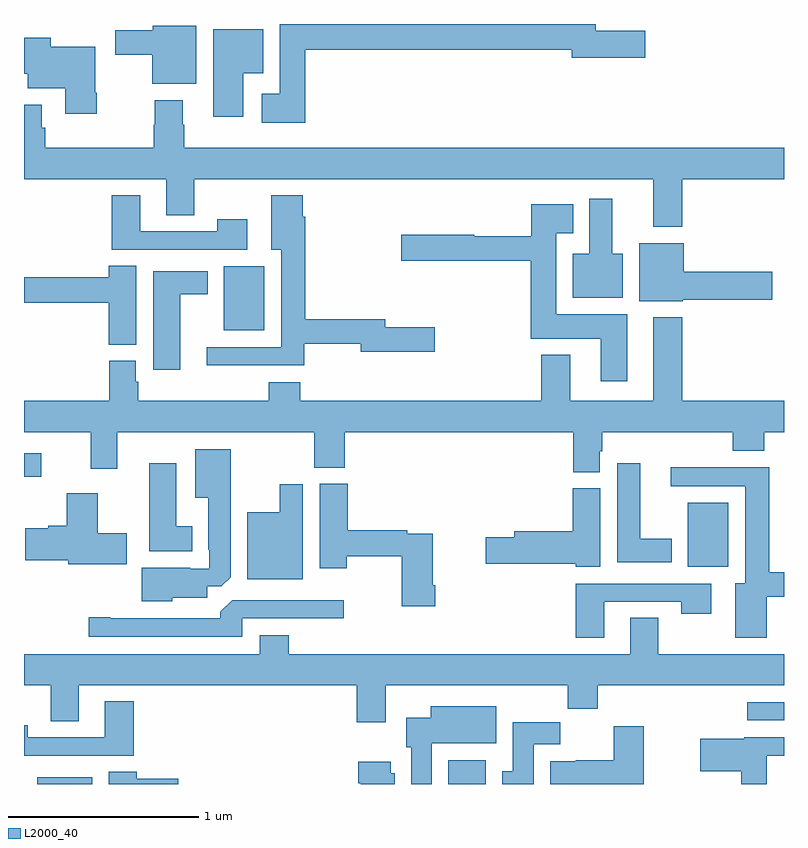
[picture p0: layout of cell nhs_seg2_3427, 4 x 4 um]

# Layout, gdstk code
import gdstk
lib = gdstk.Library(unit=1e-6, precision=1e-09)
def R(c, l, rs):  # rectangles x0, y0, x1, y1
    for r in rs: c.add(gdstk.rectangle(r[:2], r[2:], *l))
def P(c, l, *ps):  # polygons
    for p in ps: c.add(gdstk.Polygon(p, *l))
L2000_40 = (2000, 40)

nhs_seg2_3427 = lib.new_cell('nhs_seg2_3427')
R(nhs_seg2_3427, L2000_40, [(291.071,629.8,291.358,629.836), (293.234,629.8,293.431,629.926), (294.807,630.135,295,630.231), (294.494,630.944,294.706,631.279), (291,631.418,291.091,631.54), (292.052,632.189,292.264,632.524)])
P(nhs_seg2_3427, L2000_40, [(292.481,633.664),(293.882,633.664),(293.882,633.622),(294.271,633.622),(294.271,633.764),(294.01,633.764),(294.01,633.8),(292.346,633.8),(292.346,633.433),(292.251,633.433),(292.251,633.281),(292.481,633.281)],
  [(291.907,633.79),(291.678,633.79),(291.678,633.766),(291.48,633.766),(291.48,633.637),(291.674,633.637),(291.674,633.485),(291.907,633.485)],
  [(292.153,633.542),(292.258,633.542),(292.258,633.772),(291.995,633.772),(291.995,633.312),(292.153,633.312)],
  [(291.384,633.439),(291.376,633.439),(291.376,633.679),(291.142,633.679),(291.142,633.727),(291,633.727),(291,633.539),(291.02,633.539),(291.02,633.461),(291.218,633.461),(291.218,633.327),(291.384,633.327)],
  [(294.464,632.984),(295,632.984),(295,633.148),(291.843,633.148),(291.843,633.269),(291.835,633.269),(291.835,633.4),(291.688,633.4),(291.688,633.269),(291.683,633.269),(291.683,633.148),(291.113,633.148),(291.113,633.255),(291.093,633.255),(291.093,633.376),(291,633.376),(291,632.984),(291.749,632.984),(291.749,632.794),(291.897,632.794),(291.897,632.984),(294.311,632.984),(294.311,632.732),(294.464,632.732)],
  [(292.476,632.118),(292.772,632.118),(292.772,632.075),(293.161,632.075),(293.161,632.205),(292.9,632.205),(292.9,632.246),(292.481,632.246),(292.481,632.786),(292.468,632.786),(292.468,632.899),(292.301,632.899),(292.301,632.612),(292.355,632.612),(292.355,632.1),(291.963,632.1),(291.963,632.003),(292.476,632.003)],
  [(292.174,632.773),(292.018,632.773),(292.018,632.709),(291.613,632.709),(291.613,632.899),(291.461,632.899),(291.461,632.613),(292.174,632.613)],
  [(294.151,632.59),(294.097,632.59),(294.097,632.881),(293.975,632.881),(293.975,632.59),(293.888,632.59),(293.888,632.36),(294.151,632.36)],
  [(294.175,632.272),(293.8,632.272),(293.8,632.699),(293.89,632.699),(293.89,632.851),(293.671,632.851),(293.671,632.683),(293.37,632.683),(293.37,632.691),(292.986,632.691),(292.986,632.554),(293.666,632.554),(293.666,632.144),(294.035,632.144),(294.035,631.92),(294.175,631.92)],
  [(294.468,632.348),(294.937,632.348),(294.937,632.495),(294.472,632.495),(294.472,632.647),(294.239,632.647),(294.239,632.342),(294.468,632.342)],
  [(291.592,632.528),(291.446,632.528),(291.446,632.468),(291,632.468),(291,632.332),(291.446,632.332),(291.446,632.113),(291.592,632.113)],
  [(291.823,632.378),(291.967,632.378),(291.967,632.5),(291.68,632.5),(291.68,631.98),(291.823,631.98)],
  [(291.589,631.917),(291.589,632.028),(291.449,632.028),(291.449,631.816),(291,631.816),(291,631.652),(291.35,631.652),(291.35,631.458),(291.49,631.458),(291.49,631.652),(292.528,631.652),(292.528,631.465),(292.688,631.465),(292.688,631.652),(293.891,631.652),(293.891,631.441),(294.031,631.441),(294.031,631.551),(294.044,631.551),(294.044,631.652),(294.731,631.652),(294.731,631.553),(294.896,631.553),(294.896,631.652),(295,631.652),(295,631.816),(294.464,631.816),(294.464,632.257),(294.311,632.257),(294.311,631.816),(293.875,631.816),(293.875,632.059),(293.723,632.059),(293.723,631.816),(292.454,631.816),(292.454,631.915),(292.289,631.915),(292.289,631.816),(291.602,631.816),(291.602,631.917)],
  [(291.78,630.779),(291.964,630.779),(291.964,630.84),(292.038,630.84),(292.087,630.889),(292.087,631.561),(291.902,631.561),(291.902,631.307),(291.971,631.307),(291.971,631.033),(291.975,631.033),(291.975,630.933),(291.875,630.933),(291.875,630.937),(291.62,630.937),(291.62,630.761),(291.78,630.761)],
  [(294.409,631.09),(294.244,631.09),(294.244,631.489),(294.122,631.489),(294.122,630.968),(294.409,630.968)],
  [(291.886,631.156),(291.802,631.156),(291.802,631.489),(291.659,631.489),(291.659,631.025),(291.886,631.025)],
  [(294.91,630.786),(295,630.786),(295,630.914),(294.923,630.914),(294.923,631.466),(294.405,631.466),(294.405,631.368),(294.797,631.368),(294.797,630.856),(294.743,630.856),(294.743,630.57),(294.91,630.57)],
  [(293.165,630.847),(293.152,630.847),(293.152,631.116),(293.018,631.116),(293.018,631.136),(292.703,631.136),(292.703,631.38),(292.556,631.38),(292.556,630.936),(292.698,630.936),(292.698,631),(292.987,631),(292.987,630.735),(293.165,630.735)],
  [(292.468,631.378),(292.346,631.378),(292.346,631.231),(292.175,631.231),(292.175,630.878),(292.468,630.878)],
  [(294.034,631.356),(293.888,631.356),(293.888,631.13),(293.579,631.13),(293.579,631.1),(293.43,631.1),(293.43,630.958),(293.904,630.958),(293.904,630.944),(294.034,630.944)],
  [(291.541,631.119),(291.388,631.119),(291.388,631.33),(291.226,631.33),(291.226,631.16),(291.128,631.16),(291.128,631.147),(291.006,631.147),(291.006,630.977),(291.233,630.977),(291.233,630.956),(291.541,630.956)],
  [(294.055,630.759),(294.46,630.759),(294.46,630.696),(294.616,630.696),(294.616,630.855),(293.903,630.855),(293.903,630.57),(294.055,630.57)],
  [(292.149,630.672),(292.684,630.672),(292.684,630.768),(292.095,630.768),(292.034,630.706),(292.034,630.672),(291.454,630.672),(291.454,630.677),(291.342,630.677),(291.342,630.576),(292.149,630.576)],
  [(292.903,630.32),(293.863,630.32),(293.863,630.196),(294.02,630.196),(294.02,630.32),(295,630.32),(295,630.484),(294.339,630.484),(294.339,630.674),(294.191,630.674),(294.191,630.484),(292.394,630.484),(292.394,630.583),(292.241,630.583),(292.241,630.484),(291,630.484),(291,630.32),(291.142,630.32),(291.142,630.13),(291.289,630.13),(291.289,630.32),(292.751,630.32),(292.751,630.126),(292.903,630.126)],
  [(291.578,630.235),(291.425,630.235),(291.425,630.045),(291.021,630.045),(291.021,630.109),(291,630.109),(291,629.949),(291.578,629.949)],
  [(293.146,630.014),(293.485,630.014),(293.485,630.208),(293.141,630.208),(293.141,630.148),(293.012,630.148),(293.012,629.994),(293.039,629.994),(293.039,629.8),(293.146,629.8)],
  [(293.683,630.008),(293.822,630.008),(293.822,630.126),(293.573,630.126),(293.573,629.868),(293.516,629.868),(293.516,629.8),(293.683,629.8)],
  [(294.262,630.103),(294.104,630.103),(294.104,629.926),(293.904,629.926),(293.904,629.92),(293.771,629.92),(293.771,629.8),(294.262,629.8)],
  [(294.91,629.949),(295,629.949),(295,630.045),(294.792,630.045),(294.792,630.037),(294.558,630.037),(294.558,629.867),(294.776,629.867),(294.776,629.8),(294.91,629.8)],
  [(292.951,629.856),(292.93,629.856),(292.93,629.917),(292.76,629.917),(292.76,629.804),(292.772,629.804),(292.772,629.8),(292.951,629.8)],
  [(291.811,629.828),(291.593,629.828),(291.593,629.864),(291.446,629.864),(291.446,629.8),(291.811,629.8)])

lib.write_gds('nhs_seg2_3427.gds')
